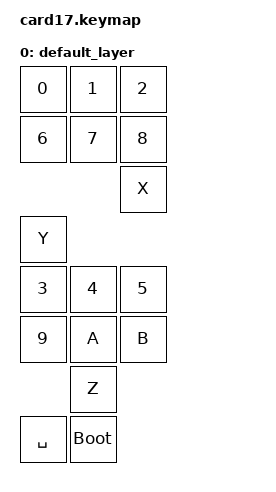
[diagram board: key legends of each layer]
#include <behaviors.dtsi>
#include <dt-bindings/zmk/keys.h>

/ {
  keymap {
    compatible = "zmk,keymap";

    default_layer {
      bindings = <
        &kp N0 &kp N1 &kp N2
        &kp N6 &kp N7 &kp N8
                      &kp X
        &kp Y
        &kp N3 &kp N4 &kp N5
        &kp N9 &kp A &kp B 

               &kp Z
        &kp SPACE &bootloader
      >;
    };
  };
};
